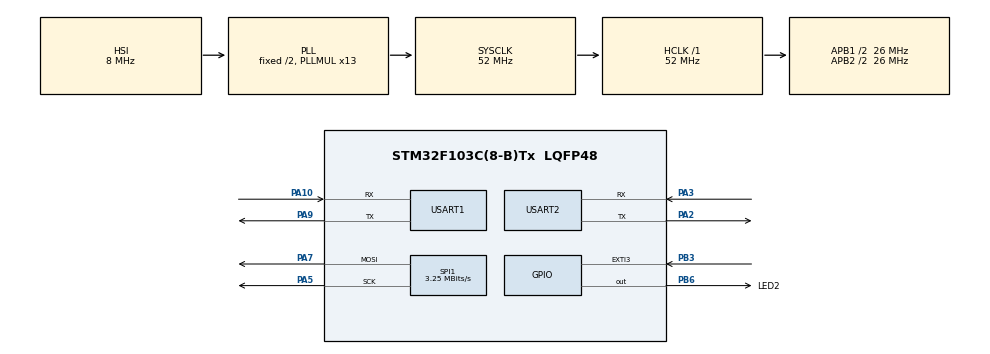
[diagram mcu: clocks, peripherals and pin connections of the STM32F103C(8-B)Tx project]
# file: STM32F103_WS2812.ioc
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Dma.Request0=SPI1_TX
Dma.SPI1_TX.0.Direction=DMA_MEMORY_TO_PERIPH
Dma.SPI1_TX.0.Instance=DMA1_Channel3
Dma.SPI1_TX.0.MemDataAlignment=DMA_MDATAALIGN_BYTE
Dma.SPI1_TX.0.MemInc=DMA_MINC_ENABLE
Dma.SPI1_TX.0.Mode=DMA_NORMAL
Dma.SPI1_TX.0.PeriphDataAlignment=DMA_PDATAALIGN_BYTE
Dma.SPI1_TX.0.PeriphInc=DMA_PINC_DISABLE
Dma.SPI1_TX.0.Priority=DMA_PRIORITY_LOW
Mcu.Family=STM32F1
Mcu.Name=STM32F103C(8-B)Tx
Mcu.Package=LQFP48
NVIC.DMA1_Channel3_IRQn=true\:0\:0\:false\:false\:true\:false
NVIC.EXTI3_IRQn=true\:0\:0\:false\:false\:true\:true
NVIC.PriorityGroup=NVIC_PRIORITYGROUP_4
NVIC.USART1_IRQn=true\:0\:0\:false\:false\:true\:true
NVIC.USART2_IRQn=true\:0\:0\:false\:false\:true\:true
PA10.Mode=Asynchronous
PA10.Signal=USART1_RX
PA13.Mode=Serial_Wire
PA13.Signal=SYS_JTMS-SWDIO
PA14.Mode=Serial_Wire
PA14.Signal=SYS_JTCK-SWCLK
PA2.Mode=Asynchronous
PA2.Signal=USART2_TX
PA3.Mode=Asynchronous
PA3.Signal=USART2_RX
PA5.Mode=TX_Only_Simplex_Unidirect_Master
PA5.Signal=SPI1_SCK
PA7.Mode=TX_Only_Simplex_Unidirect_Master
PA7.Signal=SPI1_MOSI
PA9.Mode=Asynchronous
PA9.Signal=USART1_TX
PB3.GPIO_ModeDefaultEXTI=GPIO_MODE_IT_RISING
PB3.GPIO_PuPd=GPIO_PULLDOWN
PB3.Signal=GPXTI3
PB6.GPIO_Label=LED2
PB6.GPIO_Speed=GPIO_SPEED_FREQ_MEDIUM
PB6.PinState=GPIO_PIN_SET
PB6.Signal=GPIO_Output
PD0-OSC_IN.Mode=HSE-External-Oscillator
PD0-OSC_IN.Signal=RCC_OSC_IN
PD1-OSC_OUT.Mode=HSE-External-Oscillator
PD1-OSC_OUT.Signal=RCC_OSC_OUT
ProjectManager.HeapSize=0x200
ProjectManager.StackSize=0x400
ProjectManager.TargetToolchain=MDK-ARM V5
RCC.AHBFreq_Value=52000000
RCC.APB1CLKDivider=RCC_HCLK_DIV2
RCC.APB1Freq_Value=26000000
RCC.APB1TimFreq_Value=52000000
RCC.APB2CLKDivider=RCC_HCLK_DIV2
RCC.APB2Freq_Value=26000000
RCC.APB2TimFreq_Value=52000000
RCC.HCLKFreq_Value=52000000
RCC.HSE_VALUE=12000000
RCC.PLLMUL=RCC_PLL_MUL13
RCC.SYSCLKFreq_VALUE=52000000
RCC.SYSCLKSource=RCC_SYSCLKSOURCE_PLLCLK
RCC.USBFreq_Value=52000000
SPI1.BaudRatePrescaler=SPI_BAUDRATEPRESCALER_8
SPI1.CLKPhase=SPI_PHASE_2EDGE
SPI1.CLKPolarity=SPI_POLARITY_HIGH
SPI1.CalculateBaudRate=3.25 MBits/s
SPI1.Direction=SPI_DIRECTION_2LINES
SPI1.Mode=SPI_MODE_MASTER
SPI1.VirtualType=VM_MASTER
USART1.VirtualMode=VM_ASYNC
USART2.VirtualMode=VM_ASYNC
board=custom

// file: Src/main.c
/**
  ******************************************************************************
  * @file           : main.c
  * @brief          : Main program body
  ******************************************************************************
  ** This notice applies to any and all portions of this file
  * that are not between comment pairs USER CODE BEGIN and
  * USER CODE END. Other portions of this file, whether
  * inserted by the user or by software development tools
  * are owned by their respective copyright owners.
  *
  * COPYRIGHT(c) 2018 STMicroelectronics
  *
  * Redistribution and use in source and binary forms, with or without modification,
  * are permitted provided that the following conditions are met:
  *   1. Redistributions of source code must retain the above copyright notice,
  *      this list of conditions and the following disclaimer.
  *   2. Redistributions in binary form must reproduce the above copyright notice,
  *      this list of conditions and the following disclaimer in the documentation
  *      and/or other materials provided with the distribution.
  *   3. Neither the name of STMicroelectronics nor the names of its contributors
  *      may be used to endorse or promote products derived from this software
  *      without specific prior written permission.
  *
  * THIS SOFTWARE IS PROVIDED BY THE COPYRIGHT HOLDERS AND CONTRIBUTORS "AS IS"
  * AND ANY EXPRESS OR IMPLIED WARRANTIES, INCLUDING, BUT NOT LIMITED TO, THE
  * IMPLIED WARRANTIES OF MERCHANTABILITY AND FITNESS FOR A PARTICULAR PURPOSE ARE
  * DISCLAIMED. IN NO EVENT SHALL THE COPYRIGHT HOLDER OR CONTRIBUTORS BE LIABLE
  * FOR ANY DIRECT, INDIRECT, INCIDENTAL, SPECIAL, EXEMPLARY, OR CONSEQUENTIAL
  * DAMAGES (INCLUDING, BUT NOT LIMITED TO, PROCUREMENT OF SUBSTITUTE GOODS OR
  * SERVICES; LOSS OF USE, DATA, OR PROFITS; OR BUSINESS INTERRUPTION) HOWEVER
  * CAUSED AND ON ANY THEORY OF LIABILITY, WHETHER IN CONTRACT, STRICT LIABILITY,
  * OR TORT (INCLUDING NEGLIGENCE OR OTHERWISE) ARISING IN ANY WAY OUT OF THE USE
  * OF THIS SOFTWARE, EVEN IF ADVISED OF THE POSSIBILITY OF SUCH DAMAGE.
  *
  ******************************************************************************
  */
#include "main.h"
#include "stm32f1xx_hal.h"

/* USER CODE BEGIN Includes */
#include <stdio.h>
#include <string.h>
#include "WS28.h"
#include "bsp_debug_usart.h"
#include "bsp_esp8266.h"
#include "bsp_key.h"
/* USER CODE END Includes */

SPI_HandleTypeDef hspi1;
DMA_HandleTypeDef hdma_spi1_tx;

UART_HandleTypeDef huart1;
UART_HandleTypeDef huart2;

/* USER CODE BEGIN PV */
/* Private variables ---------------------------------------------------------*/
uint16_t cnt = 0;
char str[256];
extern __IO uint8_t ucTcpClosedFlag;
uint8_t ucStatus;
/* USER CODE END PV */

void SystemClock_Config(void);
static void MX_GPIO_Init(void);
static void MX_DMA_Init(void);
static void MX_SPI1_Init(void);
static void MX_USART1_UART_Init(void);
static void MX_USART2_UART_Init(void);

/* USER CODE BEGIN PFP */
/* Private function prototypes -----------------------------------------------*/
//void HAL_TIM_PWM_PulseFinishedCallback(TIM_HandleTypeDef *htim);

/* USER CODE END PFP */

int main(void)
{

  /* MCU Configuration----------------------------------------------------------*/

  /* Reset of all peripherals, Initializes the Flash interface and the Systick. */
  HAL_Init();

  /* USER CODE BEGIN Init */
  //WS2812_DataInit();
  /* USER CODE END Init */

  /* Configure the system clock */
  SystemClock_Config();

  /* Initialize all configured peripherals */
  MX_GPIO_Init();
  MX_DMA_Init();
  MX_SPI1_Init();
  MX_USART1_UART_Init();
  MX_USART2_UART_Init();
  /* USER CODE BEGIN 2 */
  HAL_UART_Receive_IT(&husartx_esp8266, &esp8266_rxdata, 1);
  // printf("正在配置 ESP8266 ......\n" );

  // if(ESP8266_AT_Test())
  // {
  //   printf("AT test OK\n");
  // }
  // printf("\n< 1 >\n");
  // if(ESP8266_Net_Mode_Choose(STA))
  // {
  //   printf("ESP8266_Net_Mode_Choose OK\n");
  // }
  // printf("\n< 2 >\n");
  // while(!ESP8266_JoinAP("HUAWEI_7927","201520150127"));
  // printf("\n< 3 >\n");
  // ESP8266_Enable_MultipleId(DISABLE);
  // while(!ESP8266_Link_Server(enumTCP,"192.168.43.187","777",Single_ID_0));
  // printf("\n< 4 >\n");
  // while(!ESP8266_UnvarnishSend());
  // printf("配置 ESP8266 完毕\n");
  //ESP8266_Init();
  //Sw28_Init(&hsw28, PIXELS_LEN);
  //HAL_UART_Receive_IT(&huart1, UsartRxBuf, 1);
  //HAL_UART_Receive_IT(&huart2, esp8266_buf, 1);
  /* USER CODE END 2 */

  /* Infinite loop */
  /* USER CODE BEGIN WHILE */
  while (1)
  {
    if (ucSmartConfigFlag)
    {
      printf("ucSmartConfigFlag = 1");
      ESP8266_SmartConfig();
      ucSmartConfigFlag = 0;
    }
    //HAL_UART_Transmit_DMA(&huart1, UsartTxBuf, sizeof(UsartTxBuf)-1);
    //    HAL_Delay(100);
    //    UsartPrintf(USART1, "%d:Start colorWipe...\r\n", ++cnt);
    //    colorWipe(&hsw28, BLUE, 50);
    //    colorWipe(&hsw28, YELLOW, 50);
    //    colorWipe(&hsw28, TURQUOISE, 50);
    //    colorWipe(&hsw28, PURPLE, 50);
    //    if (esp8266_flag == 1)
    //    {
    //      esp8266_flag = 0;
    //      UsartPrintf(USART1, "esp8266_buf = %s\r\n", esp8266_buf);
    //      memset(esp8266_buf, 0, sizeof(esp8266_buf)); //清空缓存区
    //    }
    //    Sw28_AllBlock(&hsw28);

    HAL_Delay(1000);
    sprintf(str, "%d:usart_debug_test...\r\n", ++cnt);
    printf("%s", str);

    // HAL_Delay(1000);

    // if(ucTcpClosedFlag)                                             //检测是否失去连接
    // {
    // 	ESP8266_ExitUnvarnishSend();                                    //退出透传模式
    // 	do ucStatus = ESP8266_Get_LinkStatus();                         //获取连接状态
    // 	while(!ucStatus);
    // 	if(ucStatus==4)                                             //确认失去连接后重连
    // 	{
    // 		printf("正在重连热点和服务器 ......\n");
    // 		while(!ESP8266_JoinAP("HUAWEI_7927","201520150127"));
    // 		while(!ESP8266_Link_Server(enumTCP,"192.168.43.187","777",Single_ID_0));
    // 		printf("重连热点和服务器成功!!!\n");
    // 	}
    // 	while(!ESP8266_UnvarnishSend());
    // }

    //scanf("%s", str);
    //ESP8266_Cmd(str, "OK", NULL, 2500);

    //    //UsartPrintf(USART1, "%d:Start theaterChase...\r\n", ++cnt);
    //    theaterChase(&hsw28, YELLOW, 100);

    //    Sw28_AllBlock(&hsw28);
    //    HAL_Delay(500);
    //    //UsartPrintf(USART1, "%d:Start rainbow...\r\n", ++cnt);
    //    rainbow(&hsw28, 100);

    // Sw28_AllBlock(&hsw28);
    // HAL_Delay(500);
    // blink_all(&hsw28, BLUE, 10, 100);

    // Sw28_AllBlock(&hsw28);
    // HAL_Delay(500);
    // theaterChaseRainbow(&hsw28, 100);

  /* USER CODE END WHILE */

  }

}

void SystemClock_Config(void)
{

  RCC_OscInitTypeDef RCC_OscInitStruct;
  RCC_ClkInitTypeDef RCC_ClkInitStruct;

    /**Initializes the CPU, AHB and APB busses clocks
    */
  RCC_OscInitStruct.OscillatorType = RCC_OSCILLATORTYPE_HSI;
  RCC_OscInitStruct.HSIState = RCC_HSI_ON;
  RCC_OscInitStruct.HSICalibrationValue = 16;
  RCC_OscInitStruct.PLL.PLLState = RCC_PLL_ON;
  RCC_OscInitStruct.PLL.PLLSource = RCC_PLLSOURCE_HSI_DIV2;
  RCC_OscInitStruct.PLL.PLLMUL = RCC_PLL_MUL13;
  if (HAL_RCC_OscConfig(&RCC_OscInitStruct) != HAL_OK)
  {
    _Error_Handler(__FILE__, __LINE__);
  }

    /**Initializes the CPU, AHB and APB busses clocks
    */
  RCC_ClkInitStruct.ClockType = RCC_CLOCKTYPE_HCLK|RCC_CLOCKTYPE_SYSCLK
                              |RCC_CLOCKTYPE_PCLK1|RCC_CLOCKTYPE_PCLK2;
  RCC_ClkInitStruct.SYSCLKSource = RCC_SYSCLKSOURCE_PLLCLK;
  RCC_ClkInitStruct.AHBCLKDivider = RCC_SYSCLK_DIV1;
  RCC_ClkInitStruct.APB1CLKDivider = RCC_HCLK_DIV2;
  RCC_ClkInitStruct.APB2CLKDivider = RCC_HCLK_DIV2;

  if (HAL_RCC_ClockConfig(&RCC_ClkInitStruct, FLASH_LATENCY_2) != HAL_OK)
  {
    _Error_Handler(__FILE__, __LINE__);
  }

    /**Configure the Systick interrupt time
    */
  HAL_SYSTICK_Config(HAL_RCC_GetHCLKFreq()/1000);

    /**Configure the Systick
    */
  HAL_SYSTICK_CLKSourceConfig(SYSTICK_CLKSOURCE_HCLK);

  /* SysTick_IRQn interrupt configuration */
  HAL_NVIC_SetPriority(SysTick_IRQn, 0, 0);
}

/* SPI1 init function */
static void MX_SPI1_Init(void)
{

  /* SPI1 parameter configuration*/
  hspi1.Instance = SPI1;
  hspi1.Init.Mode = SPI_MODE_MASTER;
  hspi1.Init.Direction = SPI_DIRECTION_2LINES;
  hspi1.Init.DataSize = SPI_DATASIZE_8BIT;
  hspi1.Init.CLKPolarity = SPI_POLARITY_HIGH;
  hspi1.Init.CLKPhase = SPI_PHASE_2EDGE;
  hspi1.Init.NSS = SPI_NSS_SOFT;
  hspi1.Init.BaudRatePrescaler = SPI_BAUDRATEPRESCALER_8;
  hspi1.Init.FirstBit = SPI_FIRSTBIT_MSB;
  hspi1.Init.TIMode = SPI_TIMODE_DISABLE;
  hspi1.Init.CRCCalculation = SPI_CRCCALCULATION_DISABLE;
  hspi1.Init.CRCPolynomial = 10;
  if (HAL_SPI_Init(&hspi1) != HAL_OK)
  {
    _Error_Handler(__FILE__, __LINE__);
  }

}

/* USART1 init function */
static void MX_USART1_UART_Init(void)
{

  huart1.Instance = USART1;
  huart1.Init.BaudRate = 115200;
  huart1.Init.WordLength = UART_WORDLENGTH_8B;
  huart1.Init.StopBits = UART_STOPBITS_1;
  huart1.Init.Parity = UART_PARITY_NONE;
  huart1.Init.Mode = UART_MODE_TX_RX;
  huart1.Init.HwFlowCtl = UART_HWCONTROL_NONE;
  huart1.Init.OverSampling = UART_OVERSAMPLING_16;
  if (HAL_UART_Init(&huart1) != HAL_OK)
  {
    _Error_Handler(__FILE__, __LINE__);
  }

}

/* USART2 init function */
static void MX_USART2_UART_Init(void)
{

  huart2.Instance = USART2;
  huart2.Init.BaudRate = 115200;
  huart2.Init.WordLength = UART_WORDLENGTH_8B;
  huart2.Init.StopBits = UART_STOPBITS_1;
  huart2.Init.Parity = UART_PARITY_NONE;
  huart2.Init.Mode = UART_MODE_TX_RX;
  huart2.Init.HwFlowCtl = UART_HWCONTROL_NONE;
  huart2.Init.OverSampling = UART_OVERSAMPLING_16;
  if (HAL_UART_Init(&huart2) != HAL_OK)
  {
    _Error_Handler(__FILE__, __LINE__);
  }

}

static void MX_DMA_Init(void)
{
  /* DMA controller clock enable */
  __HAL_RCC_DMA1_CLK_ENABLE();

  /* DMA interrupt init */
  /* DMA1_Channel3_IRQn interrupt configuration */
  HAL_NVIC_SetPriority(DMA1_Channel3_IRQn, 0, 0);
  HAL_NVIC_EnableIRQ(DMA1_Channel3_IRQn);

}

/** Configure pins as
        * Analog
        * Input
        * Output
        * EVENT_OUT
        * EXTI
*/
static void MX_GPIO_Init(void)
{

  GPIO_InitTypeDef GPIO_InitStruct;

  /* GPIO Ports Clock Enable */
  __HAL_RCC_GPIOD_CLK_ENABLE();
  __HAL_RCC_GPIOA_CLK_ENABLE();
  __HAL_RCC_GPIOB_CLK_ENABLE();

  /*Configure GPIO pin Output Level */
  HAL_GPIO_WritePin(LED2_GPIO_Port, LED2_Pin, GPIO_PIN_SET);

  /*Configure GPIO pin : PB3 */
  GPIO_InitStruct.Pin = GPIO_PIN_3;
  GPIO_InitStruct.Mode = GPIO_MODE_IT_RISING;
  GPIO_InitStruct.Pull = GPIO_PULLDOWN;
  HAL_GPIO_Init(GPIOB, &GPIO_InitStruct);

  /*Configure GPIO pin : LED2_Pin */
  GPIO_InitStruct.Pin = LED2_Pin;
  GPIO_InitStruct.Mode = GPIO_MODE_OUTPUT_PP;
  GPIO_InitStruct.Pull = GPIO_NOPULL;
  GPIO_InitStruct.Speed = GPIO_SPEED_FREQ_MEDIUM;
  HAL_GPIO_Init(LED2_GPIO_Port, &GPIO_InitStruct);

  /* EXTI interrupt init*/
  HAL_NVIC_SetPriority(EXTI3_IRQn, 0, 0);
  HAL_NVIC_EnableIRQ(EXTI3_IRQn);

}

/* USER CODE BEGIN 4 */

/**
  * @brief  Rx Transfer completed callbacks.
  * @param  huart: pointer to a UART_HandleTypeDef structure that contains
  *                the configuration information for the specified UART module.
  * @retval None
  */
void HAL_UART_RxCpltCallback(UART_HandleTypeDef *huart)
{
  /* Prevent unused argument(s) compilation warning */
  if (huart->Instance == USART2)
  {
    if (strEsp8266_Frame_Record.InfBit.FrameLength < (RX_BUF_MAX_LEN - 1)) //预留1个字节写结束符
    {
      strEsp8266_Frame_Record.Data_RX_BUF[strEsp8266_Frame_Record.InfBit.FrameLength++] = esp8266_rxdata;
    }
    HAL_UART_Receive_IT(&husartx_esp8266, &esp8266_rxdata, 1);
  }
  /* NOTE: This function Should not be modified, when the callback is needed,
           the HAL_UART_RxCpltCallback could be implemented in the user file
   */
}

/**
  * @brief  EXTI line detection callbacks.
  * @param  GPIO_Pin: Specifies the pins connected EXTI line
  * @retval None
  */
void HAL_GPIO_EXTI_Callback(uint16_t GPIO_Pin)
{
  /* Prevent unused argument(s) compilation warning */
  if (GPIO_Pin == KEY_GPIO_PIN)
  {

    //HAL_Delay(10); //延时一小段时间，消除抖动
    if (HAL_GPIO_ReadPin(KEY_GPIO, KEY_GPIO_PIN) == KEY_DOWN_LEVEL)
    {
      ucSmartConfigFlag = 1;
    }
  }
  /* NOTE: This function Should not be modified, when the callback is needed,
           the HAL_GPIO_EXTI_Callback could be implemented in the user file
   */
}

/* USER CODE END 4 */

void _Error_Handler(char *file, int line)
{
  while (1)
  {
  }
}

/************************ (C) COPYRIGHT STMicroelectronics *****END OF FILE****/
